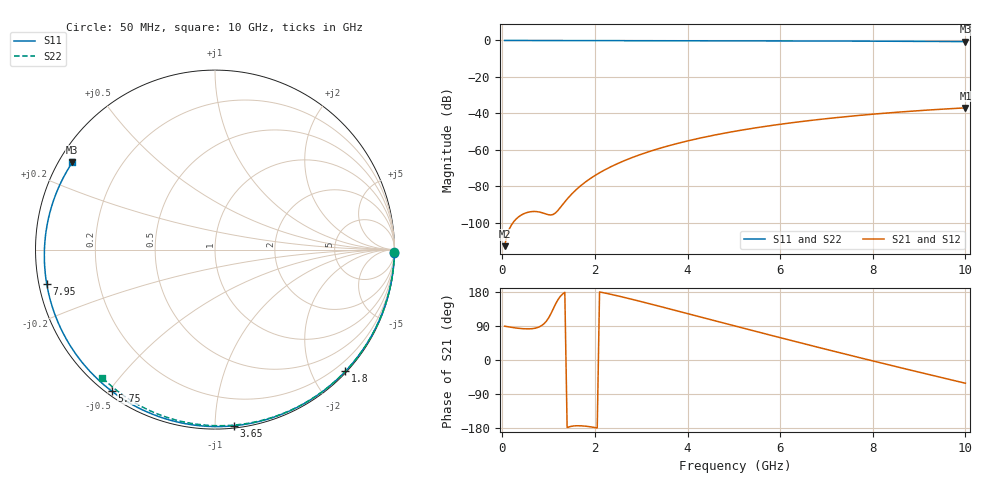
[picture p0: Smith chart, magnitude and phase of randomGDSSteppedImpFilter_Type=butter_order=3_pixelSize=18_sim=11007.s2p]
! freq	dB(S11)	phase(S11)	dB(S12)	phase(S12)
!  dB(S21)	phase(S21)	dB(S22)	phase(S22)
!S-par simulation data
#  GHz  S  DB  R 50
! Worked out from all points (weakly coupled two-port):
!   200 points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, 50 MHz to 10 GHz, reference 50 ohm
!   highest |S21| = -36.98 dB at 10 GHz (marker M1); lowest = -112.8 dB at 50 MHz (marker M2)
!   lowest |S11| = -0.6 dB at 10 GHz (marker M3), VSWR 28.36, Z = 1.9 + j14 ohm
!   |S11| at or under -10 dB: nowhere
!   |S22| runs from -0.4 to 0.0 dB; largest |S21 - S12| = 0
!   S11 on the Smith chart (normalised r, x): 50 MHz: 0, -93; 1.8 GHz: 0.02, -2.54; 3.65 GHz: 0.01, -1.11; 5.75 GHz: 0.02, -0.51; 7.95 GHz: 0.02, -0.10; 10 GHz: 0.04, +0.28
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0.05  -0.00 -1.2  -112.85 89.3  -112.85 89.3  -0.00 -0.8
0.4  -0.01 -9.7  -95.92 83.0  -95.92 83.0  -0.01 -6.1
0.8  -0.02 -19.4  -94.12 87.5  -94.12 87.5  -0.02 -12.1
1.2  -0.04 -29.0  -93.30 158.8  -93.30 158.8  -0.02 -18.1
1.65  -0.05 -39.6  -80.61 -173.5  -80.61 -173.5  -0.03 -24.7
1.7  -0.05 -40.7  -79.54 -173.7  -79.54 -173.7  -0.03 -25.5
1.75  -0.05 -41.9  -78.52 -174.1  -78.52 -174.1  -0.03 -26.2
1.8  -0.05 -43.0  -77.56 -174.7  -77.56 -174.7  -0.03 -26.9
2.1  -0.06 -49.9  -72.58 179.6  -72.58 179.6  -0.04 -31.3
2.5  -0.08 -59.0  -67.43 169.0  -67.43 169.0  -0.05 -37.1
2.9  -0.09 -67.8  -63.33 157.1  -63.33 157.1  -0.06 -42.8
3.4  -0.10 -78.7  -59.16 141.6  -59.16 141.6  -0.07 -49.9
3.65  -0.11 -83.9  -57.37 133.6  -57.37 133.6  -0.07 -53.3
4.35  -0.14 -98.4  -53.12 111.3  -53.12 111.3  -0.09 -62.9
5.05  -0.17 -112.4  -49.70 88.9  -49.70 88.9  -0.11 -72.2
5.75  -0.21 -126.0  -46.87 66.8  -46.87 66.8  -0.14 -81.2
6.7  -0.27 -144.3  -43.75 37.2  -43.75 37.2  -0.18 -93.0
7.35  -0.33 -156.7  -41.98 17.3  -41.98 17.3  -0.22 -100.9
7.95  -0.38 -168.4  -40.56 -0.9  -40.56 -0.9  -0.26 -107.9
8.35  -0.42 -176.3  -39.71 -12.9  -39.71 -12.9  -0.29 -112.6
9.2  -0.52 166.2  -38.16 -38.0  -38.16 -38.0  -0.36 -122.3
10  -0.61 148.6  -36.98 -61.3  -36.98 -61.3  -0.44 -131.4
